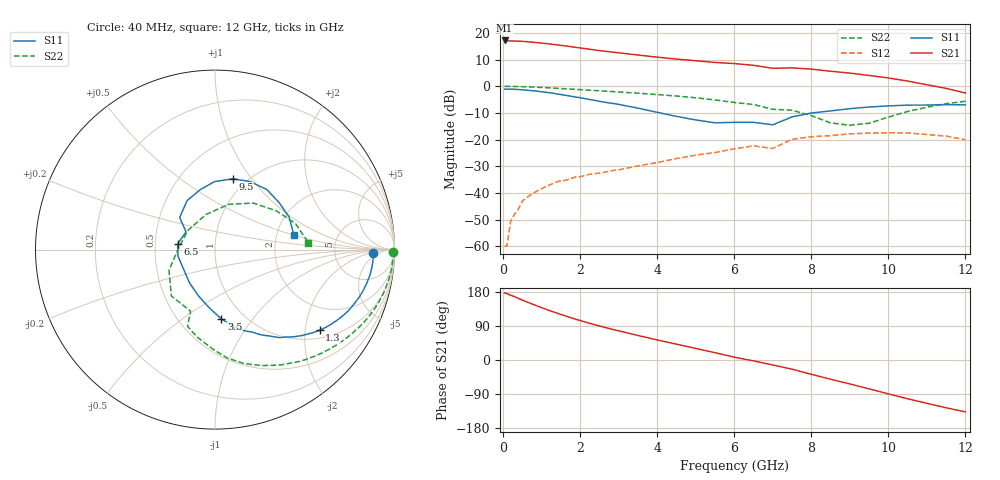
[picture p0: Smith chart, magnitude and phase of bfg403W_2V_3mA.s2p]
! Filename: 23bfg403.001
! BFG403W Field A1
! V1=8.791E-001V,V2=2.000E+000V, I1=4.308E-005A, I2=3.000E-003A
# GHz  S  MA  R 50
!  S11  S21  S12  S22
!Freq(GHz)  Mag  Ang  Mag  Ang  Mag  Ang  Mag  Ang
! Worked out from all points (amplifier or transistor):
!   44 points, 40 MHz to 12 GHz, reference 50 ohm
!   highest |S21| = 17.2 dB at 40 MHz (marker M1)
!   |S21| within 3 dB of that: start of sweep to 2.098 GHz
!   unconditionally stable (mu >= 1): start of sweep to 42.62 MHz; 2.033 GHz to end of sweep
!   at 700 MHz: K = 0.33, MSG = 28.7 dB, |S12| = -40.9 dB
!   at 2.4 GHz: K = 1.20, MAG = 20.5 dB, |S12| = -32.8 dB
!   at 12 GHz: K = 4.02, MAG = -0.2 dB, |S12| = -20.1 dB
!   S11 on the Smith chart (normalised r, x): 40 MHz: 15, -3; 1.3 GHz: 1.22, -2.39; 3.5 GHz: 0.79, -0.72; 6.5 GHz: 0.66, +0.05; 9.5 GHz: 0.86, +0.82; 12 GHz: 2.49, +0.52
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0.04  0.879 -1.4  7.211 177.0  0.001 31.6  0.991 -0.7
0.1  0.883 -3.2  7.093 175.1  0.001 92.4  0.992 -2.0
0.2  0.88 -6.2  7.069 170.9  0.003 84.8  0.991 -4.2
0.5  0.856 -15.6  6.947 158.1  0.007 77.7  0.98 -10.6
0.7  0.832 -21.3  6.737 150.0  0.009 73.4  0.969 -14.7
1  0.787 -29.9  6.441 138.2  0.012 67.9  0.947 -20.6
1.3  0.736 -37.6  6.074 127.2  0.015 63.3  0.923 -26.1
1.7  0.661 -47.1  5.589 113.6  0.018 58.7  0.888 -32.9
2.2  0.571 -57.6  4.984 98.3  0.022 55.1  0.845 -41.0
2.8  0.481 -70.0  4.392 82.0  0.026 52.8  0.796 -50.1
3.5  0.388 -84.8  3.846 64.8  0.032 50.9  0.739 -60.5
4.5  0.272 -110.3  3.229 41.8  0.044 45.7  0.655 -75.7
5.5  0.206 -148.6  2.791 19.3  0.057 35.7  0.553 -91.5
6  0.21 -170.9  2.661 7.6  0.067 27.4  0.496 -101.8
6.5  0.21 170.8  2.467 -2.3  0.076 25.9  0.454 -109.7
7  0.189 148.6  2.166 -13.1  0.068 24.3  0.369 -111.7
7.5  0.266 137.7  2.207 -24.1  0.101 13.6  0.355 -133.3
8  0.314 119.7  2.091 -37.7  0.113 -0.5  0.281 -155.8
8.5  0.344 103.7  1.908 -50.7  0.118 -12.4  0.205 178.7
9.5  0.407 75.9  1.593 -76.1  0.132 -37.2  0.202 104.3
10.5  0.442 49.1  1.25 -102.4  0.133 -64.4  0.336 50.5
12  0.447 10.7  0.746 -136.7  0.099 -108.7  0.522 4.1
